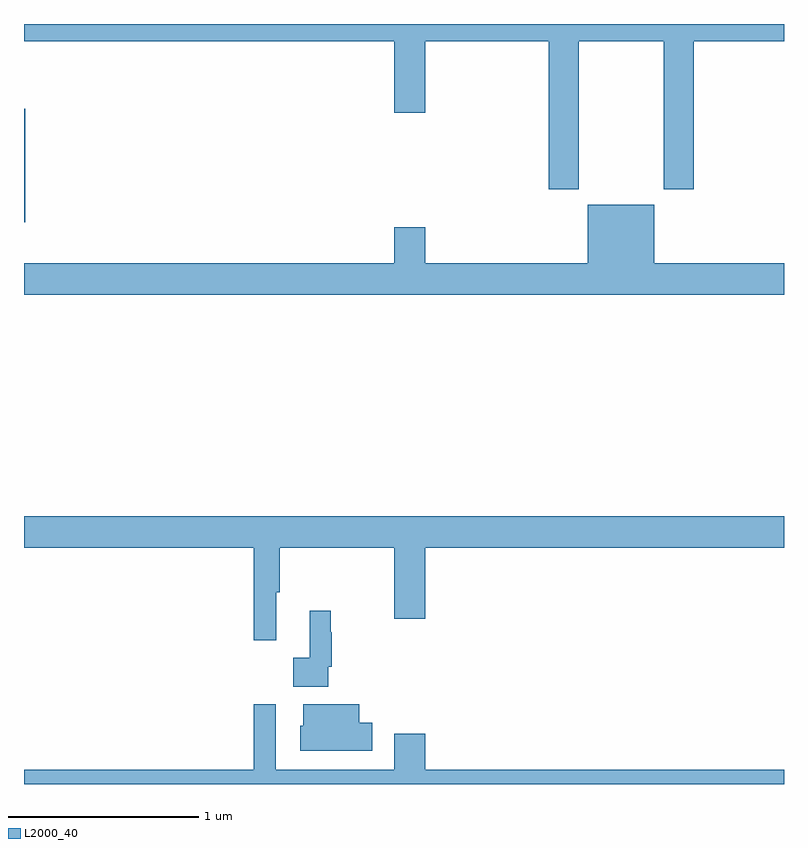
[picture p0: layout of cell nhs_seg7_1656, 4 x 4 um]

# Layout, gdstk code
import gdstk
lib = gdstk.Library(unit=1e-6, precision=1e-09)
def R(c, l, rs):  # rectangles x0, y0, x1, y1
    for r in rs: c.add(gdstk.rectangle(r[:2], r[2:], *l))
def P(c, l, *ps):  # polygons
    for p in ps: c.add(gdstk.Polygon(p, *l))
L2000_40 = (2000, 40)

nhs_seg7_1656 = lib.new_cell('nhs_seg7_1656')
R(nhs_seg7_1656, L2000_40, [(223,1040.957,223.007,1041.554)])
P(nhs_seg7_1656, L2000_40, [(225.921,1041.908),(226.366,1041.908),(226.366,1041.129),(226.526,1041.129),(226.526,1041.908),(227,1041.908),(227,1042),(223,1042),(223,1041.908),(224.948,1041.908),(224.948,1041.534),(225.112,1041.534),(225.112,1041.908),(225.761,1041.908),(225.761,1041.129),(225.921,1041.129)],
  [(227,1040.74),(226.318,1040.74),(226.318,1041.049),(225.968,1041.049),(225.968,1040.74),(225.112,1040.74),(225.112,1040.929),(224.948,1040.929),(224.948,1040.74),(223,1040.74),(223,1040.576),(227,1040.576)],
  [(224.327,1039.008),(224.345,1039.008),(224.345,1039.244),(224.948,1039.244),(224.948,1038.87),(225.112,1038.87),(225.112,1039.244),(227,1039.244),(227,1039.408),(223,1039.408),(223,1039.244),(224.209,1039.244),(224.209,1038.756),(224.327,1038.756)],
  [(224.601,1038.616),(224.621,1038.616),(224.621,1038.8),(224.614,1038.8),(224.614,1038.913),(224.504,1038.913),(224.504,1038.665),(224.418,1038.665),(224.418,1038.512),(224.601,1038.512)],
  [(227,1038.076),(225.112,1038.076),(225.112,1038.265),(224.948,1038.265),(224.948,1038.076),(224.325,1038.076),(224.325,1038.421),(224.209,1038.421),(224.209,1038.076),(223,1038.076),(223,1038),(227,1038)],
  [(224.833,1038.323),(224.764,1038.323),(224.764,1038.421),(224.471,1038.421),(224.471,1038.306),(224.453,1038.306),(224.453,1038.176),(224.833,1038.176)])

lib.write_gds('nhs_seg7_1656.gds')
